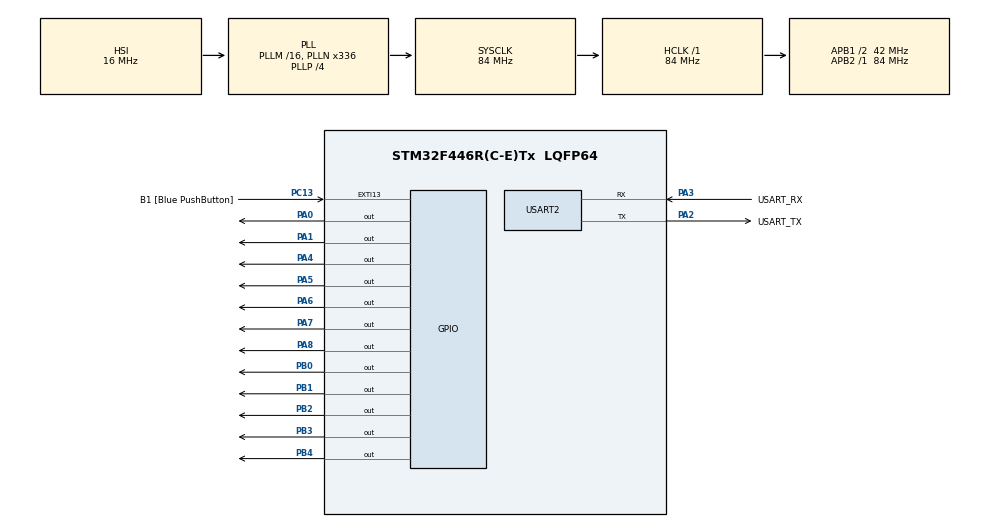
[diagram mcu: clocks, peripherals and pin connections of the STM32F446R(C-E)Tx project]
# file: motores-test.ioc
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Mcu.Family=STM32F4
Mcu.Name=STM32F446R(C-E)Tx
Mcu.Package=LQFP64
NVIC.PriorityGroup=NVIC_PRIORITYGROUP_0
NVIC.TIM2_IRQn=true\:0\:0\:false\:false\:true\:true\:true\:true
PA0-WKUP.Signal=GPIO_Output
PA1.Signal=GPIO_Output
PA13.GPIO_Label=TMS
PA13.Mode=Serial_Wire
PA13.Signal=SYS_JTMS-SWDIO
PA14.GPIO_Label=TCK
PA14.Mode=Serial_Wire
PA14.Signal=SYS_JTCK-SWCLK
PA2.GPIO_Label=USART_TX
PA2.Mode=Asynchronous
PA2.Signal=USART2_TX
PA3.GPIO_Label=USART_RX
PA3.Mode=Asynchronous
PA3.Signal=USART2_RX
PA4.Signal=GPIO_Output
PA5.Signal=GPIO_Output
PA6.Signal=GPIO_Output
PA7.Signal=GPIO_Output
PA8.Signal=GPIO_Output
PB0.Signal=GPIO_Output
PB1.Signal=GPIO_Output
PB2.Signal=GPIO_Output
PB3.Signal=GPIO_Output
PB4.Signal=GPIO_Output
PC13.GPIO_Label=B1 [Blue PushButton]
PC13.GPIO_ModeDefaultEXTI=GPIO_MODE_IT_FALLING
PC13.Signal=GPXTI13
PC14-OSC32_IN.Mode=LSE-External-Oscillator
PC14-OSC32_IN.Signal=RCC_OSC32_IN
PC15-OSC32_OUT.Mode=LSE-External-Oscillator
PC15-OSC32_OUT.Signal=RCC_OSC32_OUT
PH0-OSC_IN.Mode=HSE-External-Oscillator
PH0-OSC_IN.Signal=RCC_OSC_IN
PH1-OSC_OUT.Mode=HSE-External-Oscillator
PH1-OSC_OUT.Signal=RCC_OSC_OUT
ProjectManager.HeapSize=0x200
ProjectManager.StackSize=0x400
ProjectManager.TargetToolchain=STM32CubeIDE
RCC.48MHZClocksFreq_Value=84000000
RCC.AHBFreq_Value=84000000
RCC.APB1CLKDivider=RCC_HCLK_DIV2
RCC.APB1Freq_Value=42000000
RCC.APB1TimFreq_Value=84000000
RCC.APB2Freq_Value=84000000
RCC.APB2TimFreq_Value=84000000
RCC.CortexFreq_Value=84000000
RCC.FLatency-AdvancedSettings=FLASH_LATENCY_2
RCC.HCLKFreq_Value=84000000
RCC.HSE_VALUE=8000000
RCC.HSI_VALUE=16000000
RCC.PLLN=336
RCC.PLLP=RCC_PLLP_DIV4
RCC.SYSCLKFreq_VALUE=84000000
RCC.SYSCLKSource=RCC_SYSCLKSOURCE_PLLCLK
RCC.USBFreq_Value=168000000
RCC.VCOOutputFreq_Value=336000000
TIM2.Period=1000-1
TIM2.Prescaler=84-1
USART2.VirtualMode=VM_ASYNC
VP_TIM2_VS_ClockSourceINT.Mode=Internal
board=NUCLEO-F446RE

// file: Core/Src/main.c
/* USER CODE BEGIN Header */
/**
  ******************************************************************************
  * @file           : main.c
  * @brief          : Main program body
  ******************************************************************************
  * @attention
  *
  * Copyright (c) 2025 STMicroelectronics.
  * All rights reserved.
  *
  * This software is licensed under terms that can be found in the LICENSE file
  * in the root directory of this software component.
  * If no LICENSE file comes with this software, it is provided AS-IS.
  *
  ******************************************************************************
  */
/* USER CODE END Header */
#include "main.h"

TIM_HandleTypeDef htim2;

UART_HandleTypeDef huart2;

/* USER CODE BEGIN PV */
// --- VARIABLES DE ESTADO ---
volatile int32_t pasos_restantes_horiz = 0;
volatile int32_t pasos_restantes_vert = 0; // Moverá a M1 y M2 simultáneamente

// Índices de paso actuales (0-7) para cada motor
volatile int8_t idx_h = 0;
volatile int8_t idx_vL = 0;
volatile int8_t idx_vR = 0;

// Secuencia Half-Step (8 pasos)
const uint8_t sequence[8][4] = {
  {1,0,0,0}, {1,1,0,0}, {0,1,0,0}, {0,1,1,0},
  {0,0,1,0}, {0,0,1,1}, {0,0,0,1}, {1,0,0,1}
};
/* USER CODE END PV */

void SystemClock_Config(void);
static void MX_GPIO_Init(void);
static void MX_USART2_UART_Init(void);
static void MX_TIM2_Init(void);

/* USER CODE BEGIN 0 */
void stepper_write(int motor_id, int step_index) {
    const uint8_t* p = sequence[step_index % 8];

    // Motor 0: Horizontal (PA0, PA1, PA4, PB0)
    if(motor_id == 0) {
        HAL_GPIO_WritePin(GPIOA, GPIO_PIN_0, p[0]?GPIO_PIN_SET:GPIO_PIN_RESET);
        HAL_GPIO_WritePin(GPIOA, GPIO_PIN_1, p[1]?GPIO_PIN_SET:GPIO_PIN_RESET);
        HAL_GPIO_WritePin(GPIOA, GPIO_PIN_4, p[2]?GPIO_PIN_SET:GPIO_PIN_RESET);
        HAL_GPIO_WritePin(GPIOB, GPIO_PIN_0, p[3]?GPIO_PIN_SET:GPIO_PIN_RESET);
    }
    // Motor 1: Vertical Izquierdo (PA5, PA6, PA7, PA8)
    else if(motor_id == 1) {
        HAL_GPIO_WritePin(GPIOA, GPIO_PIN_5, p[0]?GPIO_PIN_SET:GPIO_PIN_RESET);
        HAL_GPIO_WritePin(GPIOA, GPIO_PIN_6, p[1]?GPIO_PIN_SET:GPIO_PIN_RESET);
        HAL_GPIO_WritePin(GPIOA, GPIO_PIN_7, p[2]?GPIO_PIN_SET:GPIO_PIN_RESET);
        HAL_GPIO_WritePin(GPIOA, GPIO_PIN_8, p[3]?GPIO_PIN_SET:GPIO_PIN_RESET);
    }
    // Motor 2: Vertical Derecho (PB1, PB2, PB3, PB4)
    else if(motor_id == 2) {
        HAL_GPIO_WritePin(GPIOB, GPIO_PIN_1, p[0]?GPIO_PIN_SET:GPIO_PIN_RESET);
        HAL_GPIO_WritePin(GPIOB, GPIO_PIN_2, p[1]?GPIO_PIN_SET:GPIO_PIN_RESET);
        HAL_GPIO_WritePin(GPIOB, GPIO_PIN_3, p[2]?GPIO_PIN_SET:GPIO_PIN_RESET);
        HAL_GPIO_WritePin(GPIOB, GPIO_PIN_4, p[3]?GPIO_PIN_SET:GPIO_PIN_RESET);
    }
}

void Mover_Horizontal(int32_t pasos) {
    pasos_restantes_horiz = pasos; // + Derecha, - Izquierda
}

void Mover_Vertical(int32_t pasos) {
    pasos_restantes_vert = pasos;  // + Subir, - Bajar
}

// --- FUNCIÓN CRÍTICA DE INTERRUPCIÓN ---
void HAL_TIM_PeriodElapsedCallback(TIM_HandleTypeDef *htim) {
    if (htim->Instance == TIM2) {

        // 1. Manejo de Motor Horizontal
        if (pasos_restantes_horiz != 0) {
            int8_t dir = (pasos_restantes_horiz > 0) ? 1 : -1;
            idx_h = (idx_h + 8 + dir) % 8;
            stepper_write(0, idx_h);
            pasos_restantes_horiz -= dir;
        }

        // 2. Manejo de Motores Verticales (Opuestos y Sincronizados)
        if (pasos_restantes_vert != 0) {
            int8_t dir_maestro = (pasos_restantes_vert > 0) ? 1 : -1; // 1=Subir, -1=Bajar

            // Lógica de Espejo:
            // Para M1 (Izq): Gira en la dirección maestra (dir_maestro)
            // Para M2 (Der): Gira en la dirección opuesta a la maestra (-dir_maestro)
            int8_t dir_L = dir_maestro;
            int8_t dir_R = -dir_maestro;

            idx_vL = (idx_vL + 8 + dir_L) % 8;
            idx_vR = (idx_vR + 8 + dir_R) % 8;

            stepper_write(1, idx_vL); // Motor Izquierdo
            stepper_write(2, idx_vR); // Motor Derecho (Movimiento Opuesto)

            pasos_restantes_vert -= dir_maestro;
        }
    }
}
/* USER CODE END 0 */

int main(void)
{

  /* MCU Configuration--------------------------------------------------------*/

  /* Reset of all peripherals, Initializes the Flash interface and the Systick. */
  HAL_Init();

  /* Configure the system clock */
  SystemClock_Config();

  /* Initialize all configured peripherals */
  MX_GPIO_Init();
  MX_USART2_UART_Init();
  MX_TIM2_Init();
  /* USER CODE BEGIN 2 */
  HAL_TIM_Base_Start_IT(&htim2);
  /* USER CODE END 2 */

  /* Infinite loop */
  /* USER CODE BEGIN WHILE */
  int32_t pasos_prueba = 2048; // Media vuelta

  while (1)
  {
      // 1. MOVER HORIZONTAL (DERECHA)
      Mover_Horizontal(pasos_prueba);
      // Esperar a que termine (Ojo: usa el contador horizontal)
      while(pasos_restantes_horiz != 0);
      HAL_Delay(1000);

      // 2. MOVER VERTICAL (BAJAR)
      // Los dos motores verticales giran en sentidos opuestos y bajan la plataforma.
      Mover_Vertical(-pasos_prueba);
      while(pasos_restantes_vert != 0);
      HAL_Delay(1000);

      // 3. MOVER HORIZONTAL (IZQUIERDA, VOLVER AL ORIGEN)
      Mover_Horizontal(-pasos_prueba);
      while(pasos_restantes_horiz != 0);
      HAL_Delay(1000);

      // 4. MOVER VERTICAL (SUBIR, VOLVER AL ORIGEN)
      // Los dos motores verticales giran en sentidos opuestos a antes y suben la plataforma.
      Mover_Vertical(pasos_prueba);
      while(pasos_restantes_vert != 0);
      HAL_Delay(3000); // Pausa larga antes de repetir
  }
  /* USER CODE END WHILE */

  }

void SystemClock_Config(void)
{
  RCC_OscInitTypeDef RCC_OscInitStruct = {0};
  RCC_ClkInitTypeDef RCC_ClkInitStruct = {0};

  /** Configure the main internal regulator output voltage
  */
  __HAL_RCC_PWR_CLK_ENABLE();
  __HAL_PWR_VOLTAGESCALING_CONFIG(PWR_REGULATOR_VOLTAGE_SCALE3);

  /** Initializes the RCC Oscillators according to the specified parameters
  * in the RCC_OscInitTypeDef structure.
  */
  RCC_OscInitStruct.OscillatorType = RCC_OSCILLATORTYPE_HSI;
  RCC_OscInitStruct.HSIState = RCC_HSI_ON;
  RCC_OscInitStruct.HSICalibrationValue = RCC_HSICALIBRATION_DEFAULT;
  RCC_OscInitStruct.PLL.PLLState = RCC_PLL_ON;
  RCC_OscInitStruct.PLL.PLLSource = RCC_PLLSOURCE_HSI;
  RCC_OscInitStruct.PLL.PLLM = 16;
  RCC_OscInitStruct.PLL.PLLN = 336;
  RCC_OscInitStruct.PLL.PLLP = RCC_PLLP_DIV4;
  RCC_OscInitStruct.PLL.PLLQ = 2;
  RCC_OscInitStruct.PLL.PLLR = 2;
  if (HAL_RCC_OscConfig(&RCC_OscInitStruct) != HAL_OK)
  {
    Error_Handler();
  }

  /** Initializes the CPU, AHB and APB buses clocks
  */
  RCC_ClkInitStruct.ClockType = RCC_CLOCKTYPE_HCLK|RCC_CLOCKTYPE_SYSCLK
                              |RCC_CLOCKTYPE_PCLK1|RCC_CLOCKTYPE_PCLK2;
  RCC_ClkInitStruct.SYSCLKSource = RCC_SYSCLKSOURCE_PLLCLK;
  RCC_ClkInitStruct.AHBCLKDivider = RCC_SYSCLK_DIV1;
  RCC_ClkInitStruct.APB1CLKDivider = RCC_HCLK_DIV2;
  RCC_ClkInitStruct.APB2CLKDivider = RCC_HCLK_DIV1;

  if (HAL_RCC_ClockConfig(&RCC_ClkInitStruct, FLASH_LATENCY_2) != HAL_OK)
  {
    Error_Handler();
  }
}

static void MX_TIM2_Init(void)
{

  TIM_ClockConfigTypeDef sClockSourceConfig = {0};
  TIM_MasterConfigTypeDef sMasterConfig = {0};

  htim2.Instance = TIM2;
  htim2.Init.Prescaler = 84-1;
  htim2.Init.CounterMode = TIM_COUNTERMODE_UP;
  htim2.Init.Period = 1000-1;
  htim2.Init.ClockDivision = TIM_CLOCKDIVISION_DIV1;
  htim2.Init.AutoReloadPreload = TIM_AUTORELOAD_PRELOAD_DISABLE;
  if (HAL_TIM_Base_Init(&htim2) != HAL_OK)
  {
    Error_Handler();
  }
  sClockSourceConfig.ClockSource = TIM_CLOCKSOURCE_INTERNAL;
  if (HAL_TIM_ConfigClockSource(&htim2, &sClockSourceConfig) != HAL_OK)
  {
    Error_Handler();
  }
  sMasterConfig.MasterOutputTrigger = TIM_TRGO_RESET;
  sMasterConfig.MasterSlaveMode = TIM_MASTERSLAVEMODE_DISABLE;
  if (HAL_TIMEx_MasterConfigSynchronization(&htim2, &sMasterConfig) != HAL_OK)
  {
    Error_Handler();
  }

}

static void MX_USART2_UART_Init(void)
{

  huart2.Instance = USART2;
  huart2.Init.BaudRate = 115200;
  huart2.Init.WordLength = UART_WORDLENGTH_8B;
  huart2.Init.StopBits = UART_STOPBITS_1;
  huart2.Init.Parity = UART_PARITY_NONE;
  huart2.Init.Mode = UART_MODE_TX_RX;
  huart2.Init.HwFlowCtl = UART_HWCONTROL_NONE;
  huart2.Init.OverSampling = UART_OVERSAMPLING_16;
  if (HAL_UART_Init(&huart2) != HAL_OK)
  {
    Error_Handler();
  }

}

static void MX_GPIO_Init(void)
{
  GPIO_InitTypeDef GPIO_InitStruct = {0};

  /* GPIO Ports Clock Enable */
  __HAL_RCC_GPIOC_CLK_ENABLE();
  __HAL_RCC_GPIOH_CLK_ENABLE();
  __HAL_RCC_GPIOA_CLK_ENABLE();
  __HAL_RCC_GPIOB_CLK_ENABLE();

  /*Configure GPIO pin Output Level */
  HAL_GPIO_WritePin(GPIOA, GPIO_PIN_0|GPIO_PIN_1|GPIO_PIN_4|GPIO_PIN_5
                          |GPIO_PIN_6|GPIO_PIN_7|GPIO_PIN_8, GPIO_PIN_RESET);

  /*Configure GPIO pin Output Level */
  HAL_GPIO_WritePin(GPIOB, GPIO_PIN_0|GPIO_PIN_1|GPIO_PIN_2|GPIO_PIN_3
                          |GPIO_PIN_4, GPIO_PIN_RESET);

  /*Configure GPIO pin : B1_Pin */
  GPIO_InitStruct.Pin = B1_Pin;
  GPIO_InitStruct.Mode = GPIO_MODE_IT_FALLING;
  GPIO_InitStruct.Pull = GPIO_NOPULL;
  HAL_GPIO_Init(B1_GPIO_Port, &GPIO_InitStruct);

  /*Configure GPIO pins : PA0 PA1 PA4 PA5
                           PA6 PA7 PA8 */
  GPIO_InitStruct.Pin = GPIO_PIN_0|GPIO_PIN_1|GPIO_PIN_4|GPIO_PIN_5
                          |GPIO_PIN_6|GPIO_PIN_7|GPIO_PIN_8;
  GPIO_InitStruct.Mode = GPIO_MODE_OUTPUT_PP;
  GPIO_InitStruct.Pull = GPIO_NOPULL;
  GPIO_InitStruct.Speed = GPIO_SPEED_FREQ_LOW;
  HAL_GPIO_Init(GPIOA, &GPIO_InitStruct);

  /*Configure GPIO pins : PB0 PB1 PB2 PB3
                           PB4 */
  GPIO_InitStruct.Pin = GPIO_PIN_0|GPIO_PIN_1|GPIO_PIN_2|GPIO_PIN_3
                          |GPIO_PIN_4;
  GPIO_InitStruct.Mode = GPIO_MODE_OUTPUT_PP;
  GPIO_InitStruct.Pull = GPIO_NOPULL;
  GPIO_InitStruct.Speed = GPIO_SPEED_FREQ_LOW;
  HAL_GPIO_Init(GPIOB, &GPIO_InitStruct);

}

void Error_Handler(void)
{
  __disable_irq();
  while (1)
  {
  }
}
